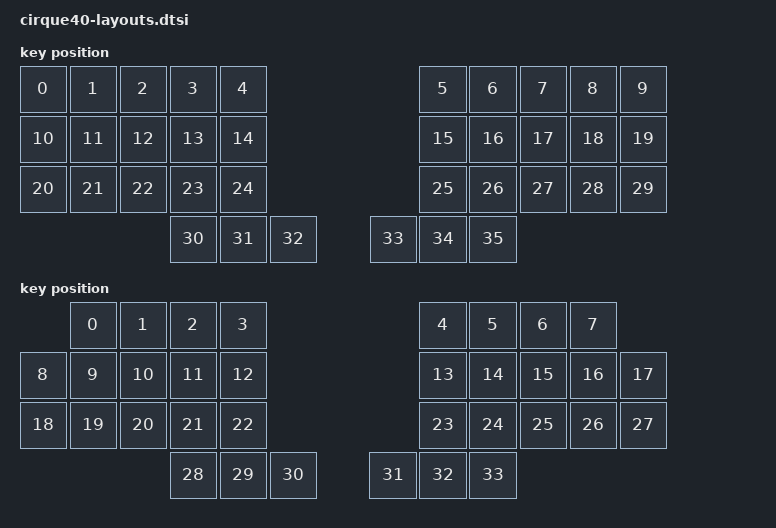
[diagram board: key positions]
#include <physical_layouts.dtsi>

/ {
    default_transform: default_transform {
        compatible = "zmk,physical-layout";
        display-name = "default transform";

        keys  //                     w   h    x    y     rot    rx    ry
            = <&key_physical_attrs 100 100    0    0       0     0     0>
            , <&key_physical_attrs 100 100  100    0       0     0     0>
            , <&key_physical_attrs 100 100  200    0       0     0     0>
            , <&key_physical_attrs 100 100  300    0       0     0     0>
            , <&key_physical_attrs 100 100  400    0       0     0     0>
            , <&key_physical_attrs 100 100  800    0       0     0     0>
            , <&key_physical_attrs 100 100  900    0       0     0     0>
            , <&key_physical_attrs 100 100 1000    0       0     0     0>
            , <&key_physical_attrs 100 100 1100    0       0     0     0>
            , <&key_physical_attrs 100 100 1200    0       0     0     0>
            , <&key_physical_attrs 100 100    0  100       0     0     0>
            , <&key_physical_attrs 100 100  100  100       0     0     0>
            , <&key_physical_attrs 100 100  200  100       0     0     0>
            , <&key_physical_attrs 100 100  300  100       0     0     0>
            , <&key_physical_attrs 100 100  400  100       0     0     0>
            , <&key_physical_attrs 100 100  800  100       0     0     0>
            , <&key_physical_attrs 100 100  900  100       0     0     0>
            , <&key_physical_attrs 100 100 1000  100       0     0     0>
            , <&key_physical_attrs 100 100 1100  100       0     0     0>
            , <&key_physical_attrs 100 100 1200  100       0     0     0>
            , <&key_physical_attrs 100 100    0  200       0     0     0>
            , <&key_physical_attrs 100 100  100  200       0     0     0>
            , <&key_physical_attrs 100 100  200  200       0     0     0>
            , <&key_physical_attrs 100 100  300  200       0     0     0>
            , <&key_physical_attrs 100 100  400  200       0     0     0>
            , <&key_physical_attrs 100 100  800  200       0     0     0>
            , <&key_physical_attrs 100 100  900  200       0     0     0>
            , <&key_physical_attrs 100 100 1000  200       0     0     0>
            , <&key_physical_attrs 100 100 1100  200       0     0     0>
            , <&key_physical_attrs 100 100 1200  200       0     0     0>
            , <&key_physical_attrs 100 100  300  300       0     0     0>
            , <&key_physical_attrs 100 100  400  300       0     0     0>
            , <&key_physical_attrs 100 100  500  300       0     0     0>
            , <&key_physical_attrs 100 100  700  300       0     0     0>
            , <&key_physical_attrs 100 100  800  300       0     0     0>
            , <&key_physical_attrs 100 100  900  300       0     0     0>
            ;
    };

    no_pinkies_transform: no_pinkies_transform {
        compatible = "zmk,physical-layout";
        display-name = "no pinkies transform";

        keys  //                     w   h    x    y     rot    rx    ry
            = <&key_physical_attrs 100 100  200    0       0     0     0>
            , <&key_physical_attrs 100 100  300    0       0     0     0>
            , <&key_physical_attrs 100 100  400    0       0     0     0>
            , <&key_physical_attrs 100 100  500    0       0     0     0>
            , <&key_physical_attrs 100 100  900    0       0     0     0>
            , <&key_physical_attrs 100 100 1000    0       0     0     0>
            , <&key_physical_attrs 100 100 1100    0       0     0     0>
            , <&key_physical_attrs 100 100 1200    0       0     0     0>
            , <&key_physical_attrs 100 100  100  100       0     0     0>
            , <&key_physical_attrs 100 100  200  100       0     0     0>
            , <&key_physical_attrs 100 100  300  100       0     0     0>
            , <&key_physical_attrs 100 100  400  100       0     0     0>
            , <&key_physical_attrs 100 100  500  100       0     0     0>
            , <&key_physical_attrs 100 100  900  100       0     0     0>
            , <&key_physical_attrs 100 100 1000  100       0     0     0>
            , <&key_physical_attrs 100 100 1100  100       0     0     0>
            , <&key_physical_attrs 100 100 1200  100       0     0     0>
            , <&key_physical_attrs 100 100 1300  100       0     0     0>
            , <&key_physical_attrs 100 100  100  200       0     0     0>
            , <&key_physical_attrs 100 100  200  200       0     0     0>
            , <&key_physical_attrs 100 100  300  200       0     0     0>
            , <&key_physical_attrs 100 100  400  200       0     0     0>
            , <&key_physical_attrs 100 100  500  200       0     0     0>
            , <&key_physical_attrs 100 100  900  200       0     0     0>
            , <&key_physical_attrs 100 100 1000  200       0     0     0>
            , <&key_physical_attrs 100 100 1100  200       0     0     0>
            , <&key_physical_attrs 100 100 1200  200       0     0     0>
            , <&key_physical_attrs 100 100 1300  200       0     0     0>
            , <&key_physical_attrs 100 100  400  300       0     0     0>
            , <&key_physical_attrs 100 100  500  300       0     0     0>
            , <&key_physical_attrs 100 100  600  300       0     0     0>
            , <&key_physical_attrs 100 100  800  300       0     0     0>
            , <&key_physical_attrs 100 100  900  300       0     0     0>
            , <&key_physical_attrs 100 100 1000  300       0     0     0>
            ;
    };

    position_map {
        compatible = "zmk,physical-layout-position-map";

        default_transform {
            physical-layout = <&default_transform>;
            positions = <>;
        };

        no_pinkies_transform {
            physical-layout = <&no_pinkies_transform>;
            positions = <>;
        };
    };
};
